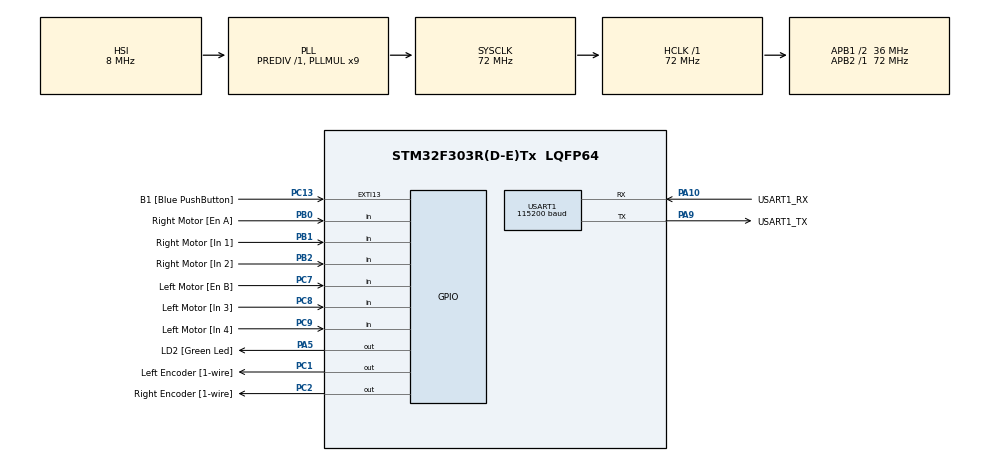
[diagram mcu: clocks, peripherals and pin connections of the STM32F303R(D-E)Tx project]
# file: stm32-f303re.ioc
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Mcu.Family=STM32F3
Mcu.Name=STM32F303R(D-E)Tx
Mcu.Package=LQFP64
NVIC.EXTI15_10_IRQn=true\:0\:0\:false\:true\:true\:3\:true\:true\:true
NVIC.PriorityGroup=NVIC_PRIORITYGROUP_0
NVIC.RCC_IRQn=true\:0\:0\:false\:false\:true\:true\:false\:true
NVIC.TIM2_IRQn=true\:0\:0\:false\:false\:true\:true\:true\:true
NVIC.USART1_IRQn=true\:0\:0\:false\:true\:true\:1\:true\:true\:true
PA10.GPIO_Label=USART1_RX
PA10.Mode=Asynchronous
PA10.Signal=USART1_RX
PA13.GPIO_Label=TMS
PA13.Mode=Serial_Wire
PA13.Signal=SYS_JTMS-SWDIO
PA14.GPIO_Label=TCK
PA14.Mode=Serial_Wire
PA14.Signal=SYS_JTCK-SWCLK
PA5.GPIO_Label=LD2 [Green Led]
PA5.GPIO_Mode=GPIO_MODE_OUTPUT_PP
PA5.GPIO_PuPd=GPIO_NOPULL
PA5.GPIO_Speed=GPIO_SPEED_FREQ_LOW
PA5.Signal=GPIO_Output
PA9.GPIO_Label=USART1_TX
PA9.Mode=Asynchronous
PA9.Signal=USART1_TX
PB0.GPIO_Label=Right Motor [En A]
PB0.Signal=GPIO_Input
PB1.GPIO_Label=Right Motor [In 1]
PB1.Signal=GPIO_Input
PB2.GPIO_Label=Right Motor [In 2]
PB2.Signal=GPIO_Input
PB3.GPIO_Label=SWO
PB3.Signal=SYS_JTDO-TRACESWO
PC1.GPIO_Label=Left Encoder [1-wire]
PC1.Signal=GPIO_Output
PC13.GPIO_Label=B1 [Blue PushButton]
PC13.GPIO_ModeDefaultEXTI=GPIO_MODE_IT_FALLING
PC13.Signal=GPXTI13
PC14-OSC32_IN.Signal=RCC_OSC32_IN
PC15-OSC32_OUT.Signal=RCC_OSC32_OUT
PC2.GPIO_Label=Right Encoder [1-wire]
PC2.Signal=GPIO_Output
PC7.GPIO_Label=Left Motor [En B]
PC7.Signal=GPIO_Input
PC8.GPIO_Label=Left Motor [In 3]
PC8.Signal=GPIO_Input
PC9.GPIO_Label=Left Motor [In 4]
PC9.Signal=GPIO_Input
PF0-OSC_IN.Mode=HSE-External-Oscillator
PF0-OSC_IN.Signal=RCC_OSC_IN
PF1-OSC_OUT.Mode=HSE-External-Oscillator
PF1-OSC_OUT.Signal=RCC_OSC_OUT
ProjectManager.HeapSize=0x200
ProjectManager.StackSize=0x400
ProjectManager.TargetToolchain=STM32CubeIDE
RCC.AHBFreq_Value=72000000
RCC.APB1CLKDivider=RCC_HCLK_DIV2
RCC.APB1Freq_Value=36000000
RCC.APB1TimFreq_Value=72000000
RCC.APB2Freq_Value=72000000
RCC.APB2TimFreq_Value=72000000
RCC.CortexFreq_Value=72000000
RCC.HCLKFreq_Value=72000000
RCC.HSE_VALUE=8000000
RCC.HSI_VALUE=8000000
RCC.LSE_VALUE=32768
RCC.PLLM=8
RCC.PLLMUL=RCC_PLL_MUL9
RCC.PLLN=336
RCC.PLLP=RCC_PLLP_DIV4
RCC.PLLQ=7
RCC.RCC_PLLsource_Clock_Source_FROM_HSE=RCC_HSE_PREDIV_DIV2
RCC.SYSCLKFreq_VALUE=72000000
RCC.SYSCLKSourceVirtual=RCC_SYSCLKSOURCE_PLLCLK
RCC.USBFreq_Value=72000000
USART1.BaudRate=115200
USART1.VirtualMode-Asynchronous=VM_ASYNC
VP_TIM2_VS_ClockSourceINT.Mode=Internal
board=NUCLEO-F303RE

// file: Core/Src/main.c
/* USER CODE BEGIN Header */
/**
  ******************************************************************************
  * @file           : main.c
  * @brief          : Main program body
  ******************************************************************************
  * @attention
  *
  * Copyright (c) 2023 STMicroelectronics.
  * All rights reserved.
  *
  * This software is licensed under terms that can be found in the LICENSE file
  * in the root directory of this software component.
  * If no LICENSE file comes with this software, it is provided AS-IS.
  *
  ******************************************************************************
  */
/* USER CODE END Header */
#include "main.h"
#include <pb.h>
#include <pb_encode.h>
#include <pb_decode.h>
#include <sensor.pb.h>
#include <motor.pb.h>
#include <wrapper.pb.h>

/* USER CODE BEGIN PD */
//
// viam defines
//
#define V_OK   0
#define V_ERR  1
#define V_SENT 2
#define V_RCV  3
/* USER CODE END PD */

TIM_HandleTypeDef htim2;
UART_HandleTypeDef huart1;

/* USER CODE BEGIN PV */
uint8_t clientMsgSz[1] = {0};
uint8_t clientMsg[60] = {0};
uint8_t retMsg[60] = {0};

float counter = 0;
float temperatureSensor = 0;
float batteryLevel = 100;

bool isMoving = false;
bool isPowered = false;
float position = 0.0;
float currentPower = 0.0;
float currentPosition = 0.0;

//start from false
bool gotSizePacket = true;
/* USER CODE END PV */

void SystemClock_Config(void);
static void MX_GPIO_Init(void);
static void MX_USART1_UART_Init(void);
static void MX_TIM2_Init(void);
static void MX_NVIC_Init(void);
/* USER CODE BEGIN PFP */
void HAL_UART_RxCpltCallback(UART_HandleTypeDef *);
/* USER CODE END PFP */

int main(void)
{

  /* MCU Configuration--------------------------------------------------------*/

  /* Reset of all peripherals, Initializes the Flash interface and the Systick. */
  HAL_Init();

  /* Configure the system clock */
  SystemClock_Config();

  /* Initialize all configured peripherals */
  MX_GPIO_Init();
  MX_USART1_UART_Init();
  MX_TIM2_Init();

  /* Initialize interrupts */
  MX_NVIC_Init();

  /* Infinite loop */
  /* USER CODE BEGIN WHILE */
  __HAL_UART_CLEAR_OREFLAG(&huart1);
  if (HAL_UART_Receive_IT(&huart1, clientMsgSz, 1) != HAL_OK) {
	  Error_Handler();
  }

  while (1)
  {
    /* USER CODE END WHILE */

  }
}

void SystemClock_Config(void)
{
  RCC_OscInitTypeDef RCC_OscInitStruct = {0};
  RCC_ClkInitTypeDef RCC_ClkInitStruct = {0};
  RCC_PeriphCLKInitTypeDef PeriphClkInit = {0};

  /** Initializes the RCC Oscillators according to the specified parameters
  * in the RCC_OscInitTypeDef structure.
  */
  RCC_OscInitStruct.OscillatorType = RCC_OSCILLATORTYPE_HSI;
  RCC_OscInitStruct.HSIState = RCC_HSI_ON;
  RCC_OscInitStruct.HSICalibrationValue = RCC_HSICALIBRATION_DEFAULT;
  RCC_OscInitStruct.PLL.PLLState = RCC_PLL_ON;
  RCC_OscInitStruct.PLL.PLLSource = RCC_PLLSOURCE_HSI;
  RCC_OscInitStruct.PLL.PLLMUL = RCC_PLL_MUL9;
  RCC_OscInitStruct.PLL.PREDIV = RCC_PREDIV_DIV1;
  if (HAL_RCC_OscConfig(&RCC_OscInitStruct) != HAL_OK)
  {
    Error_Handler();
  }

  /** Initializes the CPU, AHB and APB buses clocks
  */
  RCC_ClkInitStruct.ClockType = RCC_CLOCKTYPE_HCLK|RCC_CLOCKTYPE_SYSCLK
                              |RCC_CLOCKTYPE_PCLK1|RCC_CLOCKTYPE_PCLK2;
  RCC_ClkInitStruct.SYSCLKSource = RCC_SYSCLKSOURCE_PLLCLK;
  RCC_ClkInitStruct.AHBCLKDivider = RCC_SYSCLK_DIV1;
  RCC_ClkInitStruct.APB1CLKDivider = RCC_HCLK_DIV2;
  RCC_ClkInitStruct.APB2CLKDivider = RCC_HCLK_DIV1;

  if (HAL_RCC_ClockConfig(&RCC_ClkInitStruct, FLASH_LATENCY_2) != HAL_OK)
  {
    Error_Handler();
  }
  PeriphClkInit.PeriphClockSelection = RCC_PERIPHCLK_USART1|RCC_PERIPHCLK_TIM2;
  PeriphClkInit.Usart1ClockSelection = RCC_USART1CLKSOURCE_PCLK2;
  PeriphClkInit.Tim2ClockSelection = RCC_TIM2CLK_HCLK;
  if (HAL_RCCEx_PeriphCLKConfig(&PeriphClkInit) != HAL_OK)
  {
    Error_Handler();
  }
}

/**
  * @brief NVIC Configuration.
  * @retval None
  */
static void MX_NVIC_Init(void)
{
  /* USART1_IRQn interrupt configuration */
  HAL_NVIC_SetPriority(USART1_IRQn, 0, 0);
  HAL_NVIC_EnableIRQ(USART1_IRQn);
  /* EXTI15_10_IRQn interrupt configuration */
  HAL_NVIC_SetPriority(EXTI15_10_IRQn, 0, 0);
  HAL_NVIC_EnableIRQ(EXTI15_10_IRQn);
}

static void MX_TIM2_Init(void)
{

  TIM_ClockConfigTypeDef sClockSourceConfig = {0};
  TIM_MasterConfigTypeDef sMasterConfig = {0};

  htim2.Instance = TIM2;
  htim2.Init.Prescaler = 0;
  htim2.Init.CounterMode = TIM_COUNTERMODE_UP;
  htim2.Init.Period = 4294967295;
  htim2.Init.ClockDivision = TIM_CLOCKDIVISION_DIV1;
  htim2.Init.AutoReloadPreload = TIM_AUTORELOAD_PRELOAD_DISABLE;
  if (HAL_TIM_Base_Init(&htim2) != HAL_OK)
  {
    Error_Handler();
  }
  sClockSourceConfig.ClockSource = TIM_CLOCKSOURCE_INTERNAL;
  if (HAL_TIM_ConfigClockSource(&htim2, &sClockSourceConfig) != HAL_OK)
  {
    Error_Handler();
  }
  sMasterConfig.MasterOutputTrigger = TIM_TRGO_RESET;
  sMasterConfig.MasterSlaveMode = TIM_MASTERSLAVEMODE_DISABLE;
  if (HAL_TIMEx_MasterConfigSynchronization(&htim2, &sMasterConfig) != HAL_OK)
  {
    Error_Handler();
  }

}

static void MX_USART1_UART_Init(void)
{

  huart1.Instance = USART1;
  huart1.Init.BaudRate = 115200;
  huart1.Init.WordLength = UART_WORDLENGTH_8B;
  huart1.Init.StopBits = UART_STOPBITS_1;
  huart1.Init.Parity = UART_PARITY_NONE;
  huart1.Init.Mode = UART_MODE_TX_RX;
  huart1.Init.HwFlowCtl = UART_HWCONTROL_NONE;
  huart1.Init.OverSampling = UART_OVERSAMPLING_16;
  huart1.Init.OneBitSampling = UART_ONE_BIT_SAMPLE_DISABLE;
  huart1.AdvancedInit.AdvFeatureInit = UART_ADVFEATURE_NO_INIT;
  if (HAL_UART_Init(&huart1) != HAL_OK)
  {
    Error_Handler();
  }

}

static void MX_GPIO_Init(void)
{
  GPIO_InitTypeDef GPIO_InitStruct = {0};

  /* GPIO Ports Clock Enable */
  __HAL_RCC_GPIOC_CLK_ENABLE();
  __HAL_RCC_GPIOF_CLK_ENABLE();
  __HAL_RCC_GPIOA_CLK_ENABLE();
  __HAL_RCC_GPIOB_CLK_ENABLE();

  /*Configure GPIO pin Output Level */
  HAL_GPIO_WritePin(GPIOC, Left_Encoder_Pin|Right_Encoder_Pin, GPIO_PIN_RESET);

  /*Configure GPIO pin Output Level */
  HAL_GPIO_WritePin(LD2_GPIO_Port, LD2_Pin, GPIO_PIN_RESET);

  /*Configure GPIO pin : B1_Pin */
  GPIO_InitStruct.Pin = B1_Pin;
  GPIO_InitStruct.Mode = GPIO_MODE_IT_FALLING;
  GPIO_InitStruct.Pull = GPIO_NOPULL;
  HAL_GPIO_Init(B1_GPIO_Port, &GPIO_InitStruct);

  /*Configure GPIO pins : Left_Encoder_Pin Right_Encoder_Pin */
  GPIO_InitStruct.Pin = Left_Encoder_Pin|Right_Encoder_Pin;
  GPIO_InitStruct.Mode = GPIO_MODE_OUTPUT_PP;
  GPIO_InitStruct.Pull = GPIO_NOPULL;
  GPIO_InitStruct.Speed = GPIO_SPEED_FREQ_LOW;
  HAL_GPIO_Init(GPIOC, &GPIO_InitStruct);

  /*Configure GPIO pin : LD2_Pin */
  GPIO_InitStruct.Pin = LD2_Pin;
  GPIO_InitStruct.Mode = GPIO_MODE_OUTPUT_PP;
  GPIO_InitStruct.Pull = GPIO_NOPULL;
  GPIO_InitStruct.Speed = GPIO_SPEED_FREQ_LOW;
  HAL_GPIO_Init(LD2_GPIO_Port, &GPIO_InitStruct);

  /*Configure GPIO pins : Right_Motor_Pin Right_MotorB1_Pin Right_MotorB2_Pin */
  GPIO_InitStruct.Pin = Right_Motor_Pin|Right_MotorB1_Pin|Right_MotorB2_Pin;
  GPIO_InitStruct.Mode = GPIO_MODE_INPUT;
  GPIO_InitStruct.Pull = GPIO_NOPULL;
  HAL_GPIO_Init(GPIOB, &GPIO_InitStruct);

  /*Configure GPIO pins : Left_Motor_Pin Left_MotorC8_Pin Left_MotorC9_Pin */
  GPIO_InitStruct.Pin = Left_Motor_Pin|Left_MotorC8_Pin|Left_MotorC9_Pin;
  GPIO_InitStruct.Mode = GPIO_MODE_INPUT;
  GPIO_InitStruct.Pull = GPIO_NOPULL;
  HAL_GPIO_Init(GPIOC, &GPIO_InitStruct);

}

/* USER CODE BEGIN 4 */
/*
 * Entry point to our message passing
 * TODO: Cleanup code
 * - move to sensor.h/.c for sensor processing
 * - move to motor.h/.c for motor processing
 * - pin management/motor controller management
 */
void HAL_UART_RxCpltCallback(UART_HandleTypeDef *huart)
{
	/*
	 *  on first run we should always get the size, we use this
	 *  size from the clientMsgSz[0] to get populate the client message
	 */
	if (gotSizePacket)
	{
		// prepare for client message in the next szRecv bytes
		gotSizePacket = false;
		uint8_t szRecv;
		szRecv = clientMsgSz[0];
		__HAL_UART_CLEAR_OREFLAG(huart);
		HAL_UART_Receive_IT(huart, clientMsg, szRecv);
	} else {
		// process client message
		// need to gather more requirements
		uint8_t szBuffer[1] = {0};
		WrappedRequest request = WrappedRequest_init_zero;
		WrappedResponse response = WrappedResponse_init_zero;
		SensorRequest sensorRequest;
		MotorRequest motorRequest;
		pb_istream_t requestStream = pb_istream_from_buffer(clientMsg, clientMsgSz[0]);
		pb_ostream_t responseStream = pb_ostream_from_buffer(retMsg, sizeof(retMsg));

		if (!pb_decode(&requestStream, WrappedRequest_fields, &request)) {
			Error_Handler();
		}
		switch(request.which_msg){
		case WrappedRequest_sensorRequest_tag:
			sensorRequest = request.msg.sensorRequest;
			response.which_msg = WrappedResponse_sensorResponse_tag;
			if (sensorRequest.sensor == SensorType_Temperature) {
				response.msg.sensorResponse.value = temperatureSensor++;
				response.status = true;
				if (temperatureSensor >= 100) {temperatureSensor = 0;}
			} else if (sensorRequest.sensor == SensorType_Battery) {
				response.msg.sensorResponse.value = batteryLevel--;
				response.status = true;
				if (batteryLevel <= 0) {batteryLevel = 100;}
			} else if (sensorRequest.sensor == SensorType_Counter) {
				response.msg.sensorResponse.value = counter++;
				response.status = true;
			} else {
				Error_Handler();
			}
			break;
		case WrappedRequest_motorRequest_tag:
			motorRequest = request.msg.motorRequest;
			response.which_msg = WrappedResponse_motorResponse_tag;
			response.msg.motorResponse.action = motorRequest.action;
			switch(motorRequest.action){
			case Action_NoAction:
				break;
			case Action_SetPower:
				if (motorRequest.has_power) {
					if (motorRequest.power == 0.0) {
						isMoving = false;
						isPowered = false;
					} else {
						isMoving = true;
						isPowered = true;
					}
					currentPower = motorRequest.power;
					response.msg.motorResponse.has_val_f = true;
					response.msg.motorResponse.val_f = currentPower;
					response.status = true;
				} else {
					Error_Handler();
				}
				break;
			case Action_GoFor:
				response.status = true;
				break;
			case Action_GoTo:
				response.status = true;
				break;
			case Action_resetZeroPosition:
				response.status = true;
				break;
			case Action_getPosition:
				response.msg.motorResponse.has_val_f = true;
				response.msg.motorResponse.val_f = currentPosition;
				response.status = true;
				break;
			case Action_Stop:
				response.status = true;
				break;
			case Action_IsPowered:
				response.msg.motorResponse.has_val_b = true;
				response.msg.motorResponse.has_val_f = true;
				response.msg.motorResponse.val_b = isPowered;
				response.msg.motorResponse.val_f = currentPower;
				response.status = true;
				break;
			case Action_IsMoving:
				response.msg.motorResponse.has_val_b = true;
				response.msg.motorResponse.val_b = isMoving;
				response.status = true;
				break;
			default:
				Error_Handler();
			}
		}
		if (!pb_encode(&responseStream, WrappedResponse_fields, &response)) {
			Error_Handler();
		}

		szBuffer[0] = responseStream.bytes_written;

		HAL_UART_Transmit(huart, szBuffer, 1, 1000);
		HAL_UART_Transmit(huart, retMsg, responseStream.bytes_written, 1000);

		gotSizePacket = true;
		__HAL_UART_CLEAR_OREFLAG(huart);
		HAL_UART_Receive_IT(huart, clientMsgSz, 1);
	}
}

/* USER CODE END 4 */

void Error_Handler(void)
{
  __disable_irq();
  while (1)
  {
  }
}
